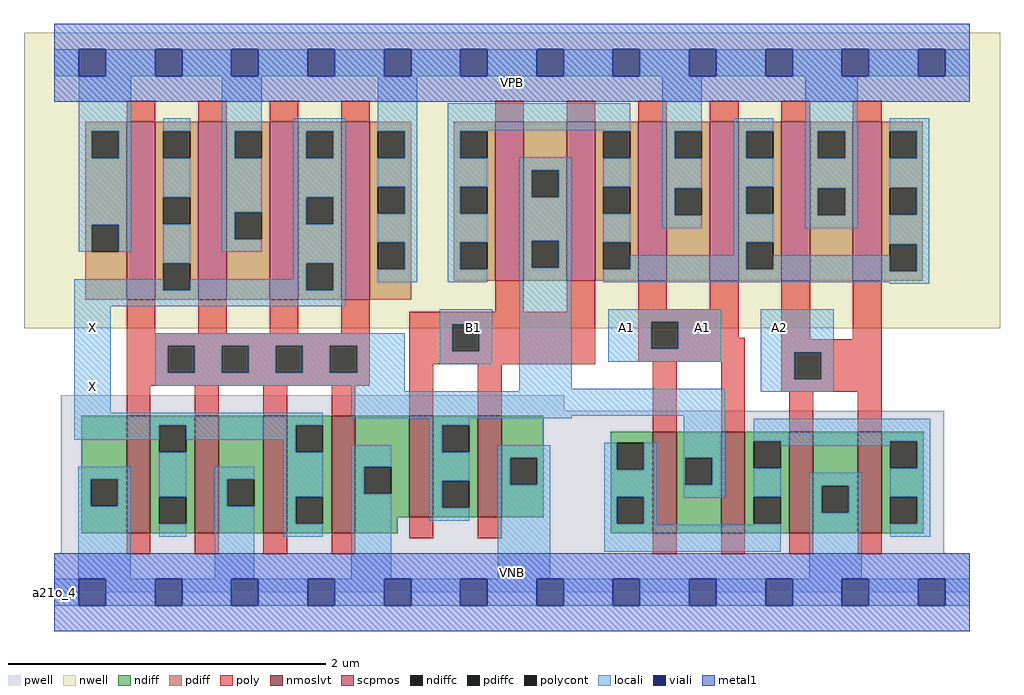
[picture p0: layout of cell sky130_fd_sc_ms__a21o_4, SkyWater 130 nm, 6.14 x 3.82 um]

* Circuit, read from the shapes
.subckt sky130_fd_sc_ms__a21o_4 A1 A2 B1 VGND VNB VPB VPWR X
XM1 X n1 VGND VNB sky130_fd_pr__nfet_01v8_lvt w=0.74 l=0.15 m=4
XM2 n1 B1 VGND VNB sky130_fd_pr__nfet_01v8_lvt w=0.64 l=0.15 m=2
XM3 n1 A1 n2 VNB sky130_fd_pr__nfet_01v8_lvt w=0.64 l=0.15 m=2
XM4 VGND A2 n2 VNB sky130_fd_pr__nfet_01v8_lvt w=0.64 l=0.15 m=2
XM5 X n1 VPWR VPB sky130_fd_pr__pfet_01v8 w=1.12 l=0.18 m=4
XM6 n1 B1 n3 VPB sky130_fd_pr__pfet_01v8 w=1 l=0.18 m=2
XM7 VPWR A1 n3 VPB sky130_fd_pr__pfet_01v8 w=1 l=0.18 m=2
XM8 VPWR A2 n3 VPB sky130_fd_pr__pfet_01v8 w=1 l=0.18 m=2
.ends

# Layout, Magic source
magic
tech sky130A
magscale 1 2
<< nwell >>
rect -38 332 1190 704
<< pwell >>
rect 8 228 642 248
rect 8 49 1120 228
rect 0 0 1152 49
<< scpmos >>
rect 91 368 127 592
rect 181 368 217 592
rect 271 368 307 592
rect 361 368 397 592
rect 555 392 591 592
rect 645 392 681 592
rect 735 392 771 592
rect 825 392 861 592
rect 915 392 951 592
rect 1005 392 1041 592
<< nmoslvt >>
rect 91 74 121 222
rect 177 74 207 222
rect 263 74 293 222
rect 349 74 379 222
rect 447 94 477 222
rect 533 94 563 222
rect 753 74 783 202
rect 839 74 869 202
rect 925 74 955 202
rect 1011 74 1041 202
<< ndiff >>
rect 34 142 91 222
rect 34 108 46 142
rect 80 108 91 142
rect 34 74 91 108
rect 121 210 177 222
rect 121 176 132 210
rect 166 176 177 210
rect 121 120 177 176
rect 121 86 132 120
rect 166 86 177 120
rect 121 74 177 86
rect 207 142 263 222
rect 207 108 218 142
rect 252 108 263 142
rect 207 74 263 108
rect 293 210 349 222
rect 293 176 304 210
rect 338 176 349 210
rect 293 120 349 176
rect 293 86 304 120
rect 338 86 349 120
rect 293 74 349 86
rect 379 158 447 222
rect 379 124 390 158
rect 424 124 447 158
rect 379 94 447 124
rect 477 210 533 222
rect 477 176 488 210
rect 522 176 533 210
rect 477 140 533 176
rect 477 106 488 140
rect 522 106 533 140
rect 477 94 533 106
rect 563 169 616 222
rect 563 135 574 169
rect 608 135 616 169
rect 563 94 616 135
rect 700 188 753 202
rect 700 154 708 188
rect 742 154 753 188
rect 700 120 753 154
rect 379 74 432 94
rect 700 86 708 120
rect 742 86 753 120
rect 700 74 753 86
rect 783 169 839 202
rect 783 135 794 169
rect 828 135 839 169
rect 783 74 839 135
rect 869 190 925 202
rect 869 156 880 190
rect 914 156 925 190
rect 869 120 925 156
rect 869 86 880 120
rect 914 86 925 120
rect 869 74 925 86
rect 955 134 1011 202
rect 955 100 966 134
rect 1000 100 1011 134
rect 955 74 1011 100
rect 1041 190 1094 202
rect 1041 156 1052 190
rect 1086 156 1094 190
rect 1041 120 1094 156
rect 1041 86 1052 120
rect 1086 86 1094 120
rect 1041 74 1094 86
<< pdiff >>
rect 39 580 91 592
rect 39 546 47 580
rect 81 546 91 580
rect 39 462 91 546
rect 39 428 47 462
rect 81 428 91 462
rect 39 368 91 428
rect 127 580 181 592
rect 127 546 137 580
rect 171 546 181 580
rect 127 497 181 546
rect 127 463 137 497
rect 171 463 181 497
rect 127 414 181 463
rect 127 380 137 414
rect 171 380 181 414
rect 127 368 181 380
rect 217 580 271 592
rect 217 546 227 580
rect 261 546 271 580
rect 217 478 271 546
rect 217 444 227 478
rect 261 444 271 478
rect 217 368 271 444
rect 307 580 361 592
rect 307 546 317 580
rect 351 546 361 580
rect 307 497 361 546
rect 307 463 317 497
rect 351 463 361 497
rect 307 414 361 463
rect 307 380 317 414
rect 351 380 361 414
rect 307 368 361 380
rect 397 580 449 592
rect 397 546 407 580
rect 441 546 449 580
rect 397 510 449 546
rect 397 476 407 510
rect 441 476 449 510
rect 397 440 449 476
rect 397 406 407 440
rect 441 406 449 440
rect 397 368 449 406
rect 503 580 555 592
rect 503 546 511 580
rect 545 546 555 580
rect 503 510 555 546
rect 503 476 511 510
rect 545 476 555 510
rect 503 440 555 476
rect 503 406 511 440
rect 545 406 555 440
rect 503 392 555 406
rect 591 531 645 592
rect 591 497 601 531
rect 635 497 645 531
rect 591 442 645 497
rect 591 408 601 442
rect 635 408 645 442
rect 591 392 645 408
rect 681 580 735 592
rect 681 546 691 580
rect 725 546 735 580
rect 681 510 735 546
rect 681 476 691 510
rect 725 476 735 510
rect 681 440 735 476
rect 681 406 691 440
rect 725 406 735 440
rect 681 392 735 406
rect 771 580 825 592
rect 771 546 781 580
rect 815 546 825 580
rect 771 508 825 546
rect 771 474 781 508
rect 815 474 825 508
rect 771 392 825 474
rect 861 580 915 592
rect 861 546 871 580
rect 905 546 915 580
rect 861 510 915 546
rect 861 476 871 510
rect 905 476 915 510
rect 861 440 915 476
rect 861 406 871 440
rect 905 406 915 440
rect 861 392 915 406
rect 951 580 1005 592
rect 951 546 961 580
rect 995 546 1005 580
rect 951 508 1005 546
rect 951 474 961 508
rect 995 474 1005 508
rect 951 392 1005 474
rect 1041 580 1093 592
rect 1041 546 1051 580
rect 1085 546 1093 580
rect 1041 509 1093 546
rect 1041 475 1051 509
rect 1085 475 1093 509
rect 1041 438 1093 475
rect 1041 404 1051 438
rect 1085 404 1093 438
rect 1041 392 1093 404
<< ndiffc >>
rect 46 108 80 142
rect 132 176 166 210
rect 132 86 166 120
rect 218 108 252 142
rect 304 176 338 210
rect 304 86 338 120
rect 390 124 424 158
rect 488 176 522 210
rect 488 106 522 140
rect 574 135 608 169
rect 708 154 742 188
rect 708 86 742 120
rect 794 135 828 169
rect 880 156 914 190
rect 880 86 914 120
rect 966 100 1000 134
rect 1052 156 1086 190
rect 1052 86 1086 120
<< pdiffc >>
rect 47 546 81 580
rect 47 428 81 462
rect 137 546 171 580
rect 137 463 171 497
rect 137 380 171 414
rect 227 546 261 580
rect 227 444 261 478
rect 317 546 351 580
rect 317 463 351 497
rect 317 380 351 414
rect 407 546 441 580
rect 407 476 441 510
rect 407 406 441 440
rect 511 546 545 580
rect 511 476 545 510
rect 511 406 545 440
rect 601 497 635 531
rect 601 408 635 442
rect 691 546 725 580
rect 691 476 725 510
rect 691 406 725 440
rect 781 546 815 580
rect 781 474 815 508
rect 871 546 905 580
rect 871 476 905 510
rect 871 406 905 440
rect 961 546 995 580
rect 961 474 995 508
rect 1051 546 1085 580
rect 1051 475 1085 509
rect 1051 404 1085 438
<< poly >>
rect 91 592 127 618
rect 181 592 217 618
rect 271 592 307 618
rect 361 592 397 618
rect 555 592 591 618
rect 645 592 681 618
rect 735 592 771 618
rect 825 592 861 618
rect 915 592 951 618
rect 1005 592 1041 618
rect 91 326 127 368
rect 181 326 217 368
rect 271 326 307 368
rect 361 326 397 368
rect 555 353 591 392
rect 645 353 681 392
rect 91 310 397 326
rect 91 276 143 310
rect 177 276 211 310
rect 245 276 279 310
rect 313 276 347 310
rect 381 276 397 310
rect 91 260 397 276
rect 447 337 681 353
rect 447 303 501 337
rect 535 303 681 337
rect 447 287 681 303
rect 735 356 771 392
rect 825 356 861 392
rect 735 340 861 356
rect 735 306 751 340
rect 785 320 861 340
rect 785 306 869 320
rect 735 290 869 306
rect 91 222 121 260
rect 177 222 207 260
rect 263 222 293 260
rect 349 222 379 260
rect 447 222 477 287
rect 533 222 563 287
rect 753 202 783 290
rect 839 202 869 290
rect 915 318 951 392
rect 1005 318 1041 392
rect 915 302 1041 318
rect 915 268 931 302
rect 965 268 1041 302
rect 915 252 1041 268
rect 925 202 955 252
rect 1011 202 1041 252
rect 91 48 121 74
rect 177 48 207 74
rect 263 48 293 74
rect 349 48 379 74
rect 447 68 477 94
rect 533 68 563 94
rect 753 48 783 74
rect 839 48 869 74
rect 925 48 955 74
rect 1011 48 1041 74
<< polycont >>
rect 143 276 177 310
rect 211 276 245 310
rect 279 276 313 310
rect 347 276 381 310
rect 501 303 535 337
rect 751 306 785 340
rect 931 268 965 302
<< locali >>
rect 0 649 31 683
rect 65 649 127 683
rect 161 649 223 683
rect 257 649 319 683
rect 353 649 415 683
rect 449 649 511 683
rect 545 649 607 683
rect 641 649 703 683
rect 737 649 799 683
rect 833 649 895 683
rect 929 649 991 683
rect 1025 649 1087 683
rect 1121 649 1152 683
rect 31 580 97 649
rect 31 546 47 580
rect 81 546 97 580
rect 31 462 97 546
rect 31 428 47 462
rect 81 428 97 462
rect 137 580 171 596
rect 137 497 171 546
rect 137 414 171 463
rect 211 580 261 649
rect 211 546 227 580
rect 211 478 261 546
rect 211 444 227 478
rect 211 428 261 444
rect 301 580 367 596
rect 301 546 317 580
rect 351 546 367 580
rect 301 497 367 546
rect 301 463 317 497
rect 351 463 367 497
rect 25 380 137 394
rect 301 414 367 463
rect 301 394 317 414
rect 171 380 317 394
rect 351 380 367 414
rect 407 580 457 649
rect 441 546 457 580
rect 407 510 457 546
rect 441 476 457 510
rect 407 440 457 476
rect 441 406 457 440
rect 407 390 457 406
rect 495 581 725 615
rect 495 580 545 581
rect 495 546 511 580
rect 691 580 725 581
rect 495 510 545 546
rect 495 476 511 510
rect 495 440 545 476
rect 495 406 511 440
rect 495 390 545 406
rect 585 531 651 547
rect 585 497 601 531
rect 635 497 651 531
rect 585 442 651 497
rect 585 408 601 442
rect 635 408 651 442
rect 25 360 367 380
rect 25 226 71 360
rect 485 337 551 356
rect 127 310 441 326
rect 127 276 143 310
rect 177 276 211 310
rect 245 276 279 310
rect 313 276 347 310
rect 381 276 441 310
rect 485 303 501 337
rect 535 303 551 337
rect 485 287 551 303
rect 127 260 441 276
rect 374 253 441 260
rect 585 256 651 408
rect 691 510 725 546
rect 691 440 725 476
rect 765 580 815 649
rect 765 546 781 580
rect 765 508 815 546
rect 765 474 781 508
rect 765 458 815 474
rect 855 580 905 596
rect 855 546 871 580
rect 855 510 905 546
rect 855 476 871 510
rect 855 440 905 476
rect 945 580 1011 649
rect 945 546 961 580
rect 995 546 1011 580
rect 945 508 1011 546
rect 945 474 961 508
rect 995 474 1011 508
rect 945 458 1011 474
rect 1051 580 1101 596
rect 1085 546 1101 580
rect 1051 509 1101 546
rect 1085 475 1101 509
rect 855 424 871 440
rect 725 406 871 424
rect 1051 438 1101 475
rect 905 406 1051 424
rect 691 404 1051 406
rect 1085 404 1101 438
rect 691 390 1101 404
rect 1051 388 1101 390
rect 697 340 839 356
rect 697 306 751 340
rect 785 306 839 340
rect 697 290 839 306
rect 889 302 981 356
rect 889 268 931 302
rect 965 268 981 302
rect 585 253 844 256
rect 25 210 338 226
rect 374 222 844 253
rect 889 252 981 268
rect 374 219 651 222
rect 25 192 132 210
rect 166 192 304 210
rect 30 142 96 158
rect 30 108 46 142
rect 80 108 96 142
rect 30 17 96 108
rect 132 120 166 176
rect 288 176 304 192
rect 472 210 522 219
rect 132 70 166 86
rect 202 142 252 158
rect 202 108 218 142
rect 202 17 252 108
rect 288 120 338 176
rect 288 86 304 120
rect 288 70 338 86
rect 374 158 424 185
rect 374 124 390 158
rect 374 17 424 124
rect 472 176 488 210
rect 472 140 522 176
rect 472 106 488 140
rect 472 90 522 106
rect 558 169 624 185
rect 558 135 574 169
rect 608 135 624 169
rect 558 17 624 135
rect 692 154 708 188
rect 742 154 758 188
rect 692 120 758 154
rect 692 86 708 120
rect 742 86 758 120
rect 792 169 844 222
rect 792 135 794 169
rect 828 135 844 169
rect 792 119 844 135
rect 880 190 1102 218
rect 914 184 1052 190
rect 880 120 914 156
rect 1086 156 1102 190
rect 692 85 758 86
rect 880 85 914 86
rect 692 51 914 85
rect 950 134 1016 150
rect 950 100 966 134
rect 1000 100 1016 134
rect 950 17 1016 100
rect 1052 120 1102 156
rect 1086 86 1102 120
rect 1052 70 1102 86
rect 0 -17 31 17
rect 65 -17 127 17
rect 161 -17 223 17
rect 257 -17 319 17
rect 353 -17 415 17
rect 449 -17 511 17
rect 545 -17 607 17
rect 641 -17 703 17
rect 737 -17 799 17
rect 833 -17 895 17
rect 929 -17 991 17
rect 1025 -17 1087 17
rect 1121 -17 1152 17
<< viali >>
rect 31 649 65 683
rect 127 649 161 683
rect 223 649 257 683
rect 319 649 353 683
rect 415 649 449 683
rect 511 649 545 683
rect 607 649 641 683
rect 703 649 737 683
rect 799 649 833 683
rect 895 649 929 683
rect 991 649 1025 683
rect 1087 649 1121 683
rect 31 -17 65 17
rect 127 -17 161 17
rect 223 -17 257 17
rect 319 -17 353 17
rect 415 -17 449 17
rect 511 -17 545 17
rect 607 -17 641 17
rect 703 -17 737 17
rect 799 -17 833 17
rect 895 -17 929 17
rect 991 -17 1025 17
rect 1087 -17 1121 17
<< metal1 >>
rect 0 683 1152 715
rect 0 649 31 683
rect 65 649 127 683
rect 161 649 223 683
rect 257 649 319 683
rect 353 649 415 683
rect 449 649 511 683
rect 545 649 607 683
rect 641 649 703 683
rect 737 649 799 683
rect 833 649 895 683
rect 929 649 991 683
rect 1025 649 1087 683
rect 1121 649 1152 683
rect 0 617 1152 649
rect 0 17 1152 49
rect 0 -17 31 17
rect 65 -17 127 17
rect 161 -17 223 17
rect 257 -17 319 17
rect 353 -17 415 17
rect 449 -17 511 17
rect 545 -17 607 17
rect 641 -17 703 17
rect 737 -17 799 17
rect 833 -17 895 17
rect 929 -17 991 17
rect 1025 -17 1087 17
rect 1121 -17 1152 17
rect 0 -49 1152 -17
<< labels >>
flabel pwell s 0 0 1152 49 0 FreeSans 200 0 0 0 VNB
port 5 nsew ground bidirectional
flabel nwell s 0 617 1152 666 0 FreeSans 200 0 0 0 VPB
port 6 nsew power bidirectional
rlabel comment s 0 0 0 0 4 a21o_4
flabel metal1 s 0 617 1152 666 0 FreeSans 340 0 0 0 VPWR
port 7 nsew power bidirectional
flabel metal1 s 0 0 1152 49 0 FreeSans 340 0 0 0 VGND
port 4 nsew ground bidirectional
flabel locali s 31 242 65 276 0 FreeSans 340 0 0 0 X
port 8 nsew signal output
flabel locali s 31 316 65 350 0 FreeSans 340 0 0 0 X
port 8 nsew signal output
flabel locali s 511 316 545 350 0 FreeSans 340 0 0 0 B1
port 3 nsew signal input
flabel locali s 895 316 929 350 0 FreeSans 340 0 0 0 A2
port 2 nsew signal input
flabel locali s 703 316 737 350 0 FreeSans 340 0 0 0 A1
port 1 nsew signal input
flabel locali s 799 316 833 350 0 FreeSans 340 0 0 0 A1
port 1 nsew signal input
<< properties >>
string LEFsite unit
string LEFclass CORE
string FIXED_BBOX 0 0 1152 666
string GDS_FILE $PDKPATH/libs.ref/sky130_fd_sc_ms/gds/sky130_fd_sc_ms.gds
string LEFsymmetry X Y
string GDS_END 1477574
string GDS_START 1468054
<< end >>
